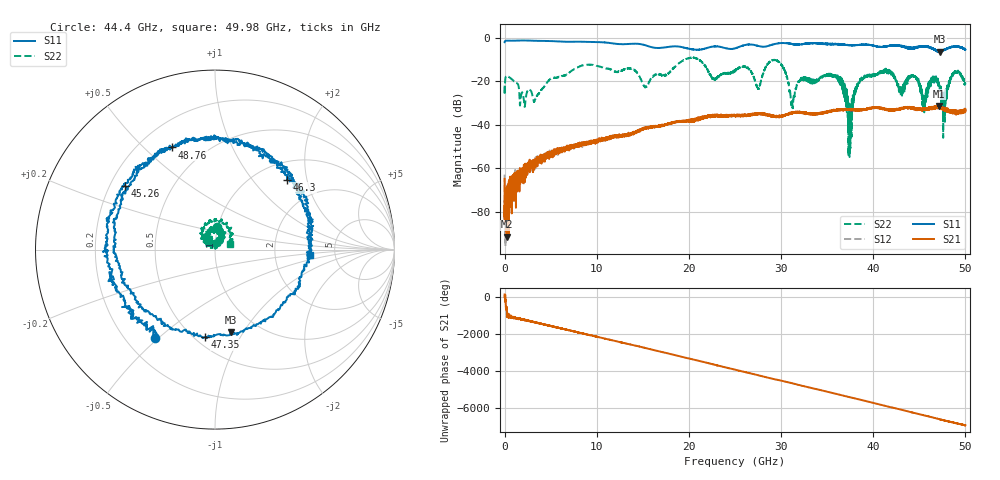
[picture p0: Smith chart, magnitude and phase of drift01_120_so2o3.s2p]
!Created with skrf (http://scikit-rf.org).
# Hz S RI R 50.0
!freq ReS11 ImS11 ReS21 ImS21 ReS12 ImS12 ReS22 ImS22
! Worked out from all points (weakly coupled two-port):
!   10001 points, 300 kHz to 50 GHz, reference 50 ohm
!   highest |S21| = -31.46 dB at 47.17 GHz (marker M1); lowest = -91.6 dB at 225.3 MHz (marker M2)
!   lowest |S11| = -6.6 dB at 47.24 GHz (marker M3), VSWR 2.77, Z = 37.3 - j44.1 ohm
!   |S11| at or under -10 dB: nowhere
!   |S22| runs from -54.9 to -9.2 dB; largest |S21 - S12| = 0.0041
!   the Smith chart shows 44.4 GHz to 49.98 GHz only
!   S11 on the Smith chart (normalised r, x): 44.4 GHz: 0.32, -0.49; 45.26 GHz: 0.26, +0.30; 46.3 GHz: 1.35, +1.53; 47.35 GHz: 0.56, -0.72; 48.76 GHz: 0.33, +0.61; 49.98 GHz: 3.24, -0.26
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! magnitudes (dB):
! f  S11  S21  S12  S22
! 300 kHz  -2.1  -65.0  -63.0  -22.1
! 225.3 MHz  -1.4  -91.6  -72.2  -17.7
! 3.29 GHz  -1.5  -56.5  -58.1  -28.8
! 8.335 GHz  -1.9  -48.8  -49.6  -12.9
! 16.67 GHz  -4.8  -40.9  -40.7  -16.7
! 25 GHz  -5.0  -35.6  -36.0  -15.3
! 29.58 GHz  -2.8  -36.3  -36.4  -10.6
! 31.24 GHz  -3.0  -34.6  -34.8  -31.7
! 33.34 GHz  -2.6  -35.2  -35.0  -19.6
! 36.11 GHz  -3.1  -33.4  -33.5  -18.5
! 37.49 GHz  -3.5  -33.1  -33.2  -37.3
! 38.64 GHz  -3.3  -33.2  -33.3  -19.8
! 41.67 GHz  -3.9  -33.3  -33.1  -15.8
! 44.4 GHz  -4.5  -32.0  -32.6  -17.8
! 45.26 GHz  -4.2  -33.2  -32.7  -25.0
! 46.3 GHz  -5.0  -32.8  -32.3  -18.7
! 47.17 GHz  -6.3  -31.5  -32.2  -21.3
! 47.24 GHz  -6.6  -31.9  -32.1  -24.9
! 47.35 GHz  -6.2  -32.6  -32.1  -25.3
! 48.76 GHz  -4.2  -33.4  -34.3  -16.5
! 49.98 GHz  -5.5  -33.4  -33.7  -21.1
! 50 GHz  -5.6  -33.9  -33.7  -21.7
